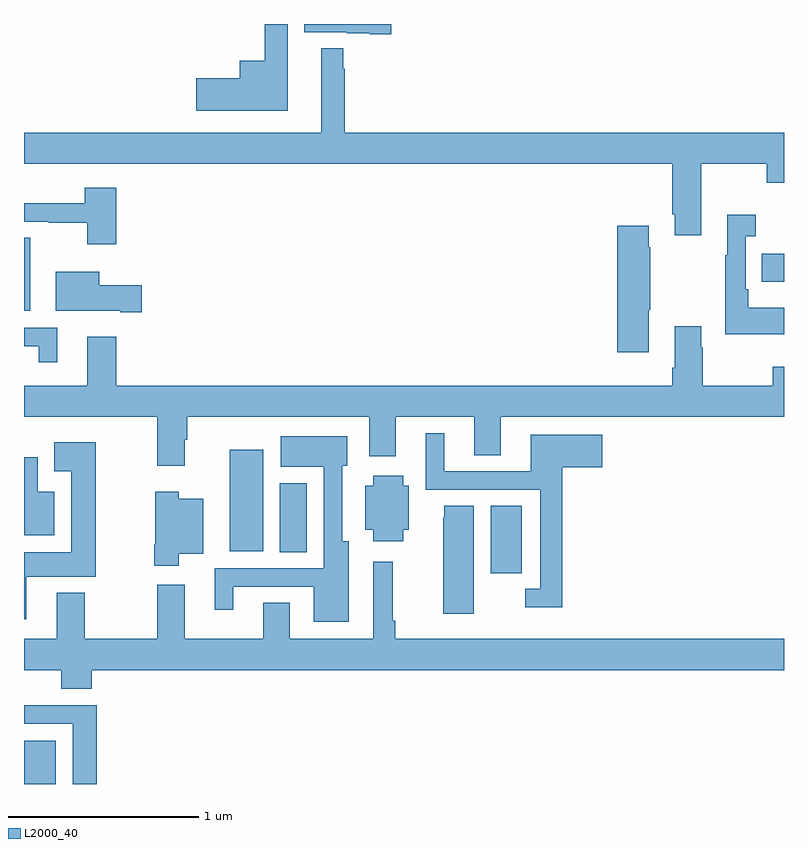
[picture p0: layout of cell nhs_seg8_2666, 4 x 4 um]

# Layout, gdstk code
import gdstk
lib = gdstk.Library(unit=1e-6, precision=1e-09)
def R(c, l, rs):  # rectangles x0, y0, x1, y1
    for r in rs: c.add(gdstk.rectangle(r[:2], r[2:], *l))
def P(c, l, *ps):  # polygons
    for p in ps: c.add(gdstk.Polygon(p, *l))
L2000_40 = (2000, 40)

nhs_seg8_2666 = lib.new_cell('nhs_seg8_2666')
R(nhs_seg8_2666, L2000_40, [(279,1115.9,279.166,1116.127), (281.456,1117.008,281.62,1117.364), (280.346,1117.12,280.489,1117.483), (280.082,1117.124,280.258,1117.66), (279,1118.39,279.034,1118.774), (282.883,1118.543,283,1118.691)])
P(nhs_seg8_2666, L2000_40, [(280.387,1119.9),(280.266,1119.9),(280.266,1119.706),(280.136,1119.706),(280.136,1119.614),(279.906,1119.614),(279.906,1119.443),(280.387,1119.443)],
  [(280.933,1119.9),(280.475,1119.9),(280.475,1119.857),(280.698,1119.857),(280.698,1119.851),(280.82,1119.851),(280.82,1119.845),(280.933,1119.845)],
  [(282.565,1119.164),(282.91,1119.164),(282.91,1119.065),(283,1119.065),(283,1119.328),(280.687,1119.328),(280.687,1119.665),(280.679,1119.665),(280.679,1119.772),(280.565,1119.772),(280.565,1119.328),(279,1119.328),(279,1119.164),(282.413,1119.164),(282.413,1118.899),(282.425,1118.899),(282.425,1118.787),(282.565,1118.787)],
  [(279.485,1119.037),(279.32,1119.037),(279.32,1118.957),(279,1118.957),(279,1118.859),(279.13,1118.859),(279.13,1118.854),(279.332,1118.854),(279.332,1118.742),(279.485,1118.742)],
  [(283,1118.407),(282.811,1118.407),(282.811,1118.503),(282.798,1118.503),(282.798,1118.783),(282.85,1118.783),(282.85,1118.896),(282.701,1118.896),(282.701,1118.683),(282.69,1118.683),(282.69,1118.267),(283,1118.267)],
  [(282.289,1118.395),(282.297,1118.395),(282.297,1118.726),(282.289,1118.726),(282.289,1118.839),(282.122,1118.839),(282.122,1118.172),(282.289,1118.172)],
  [(279.619,1118.525),(279.397,1118.525),(279.397,1118.596),(279.167,1118.596),(279.167,1118.39),(279.506,1118.39),(279.506,1118.383),(279.619,1118.383)],
  [(279.847,1117.712),(279.86,1117.712),(279.86,1117.832),(280.817,1117.832),(280.817,1117.626),(280.957,1117.626),(280.957,1117.832),(281.369,1117.832),(281.369,1117.63),(281.509,1117.63),(281.509,1117.832),(283,1117.832),(283,1118.095),(282.94,1118.095),(282.94,1117.996),(282.573,1117.996),(282.573,1118.195),(282.565,1118.195),(282.565,1118.308),(282.425,1118.308),(282.425,1118.092),(282.413,1118.092),(282.413,1117.996),(279.485,1117.996),(279.485,1118.254),(279.332,1118.254),(279.332,1117.996),(279,1117.996),(279,1117.832),(279.7,1117.832),(279.7,1117.575),(279.847,1117.575)],
  [(279.175,1118.301),(279,1118.301),(279,1118.205),(279.077,1118.205),(279.077,1118.121),(279.175,1118.121)],
  [(281.834,1117.568),(282.043,1117.568),(282.043,1117.738),(281.666,1117.738),(281.666,1117.545),(281.212,1117.545),(281.212,1117.747),(281.114,1117.747),(281.114,1117.449),(281.718,1117.449),(281.718,1116.927),(281.637,1116.927),(281.637,1116.83),(281.834,1116.83)],
  [(280.708,1117.177),(280.674,1117.177),(280.674,1117.575),(280.702,1117.575),(280.702,1117.729),(280.35,1117.729),(280.35,1117.571),(280.578,1117.571),(280.578,1117.035),(280.004,1117.035),(280.004,1116.816),(280.102,1116.816),(280.102,1116.939),(280.526,1116.939),(280.526,1116.755),(280.708,1116.755)],
  [(279.013,1116.992),(279.378,1116.992),(279.378,1117.699),(279.158,1117.699),(279.158,1117.547),(279.248,1117.547),(279.248,1117.12),(279,1117.12),(279,1116.768),(279.013,1116.768)],
  [(279.16,1117.438),(279.073,1117.438),(279.073,1117.621),(279,1117.621),(279,1117.208),(279.16,1117.208)],
  [(280.996,1117.238),(281.026,1117.238),(281.026,1117.471),(280.996,1117.471),(280.996,1117.522),(280.838,1117.522),(280.838,1117.471),(280.796,1117.471),(280.796,1117.238),(280.838,1117.238),(280.838,1117.178),(280.996,1117.178)],
  [(279.814,1117.112),(279.943,1117.112),(279.943,1117.402),(279.814,1117.402),(279.814,1117.438),(279.692,1117.438),(279.692,1117.162),(279.685,1117.162),(279.685,1117.05),(279.814,1117.05)],
  [(281.368,1117.364),(281.213,1117.364),(281.213,1117.305),(281.207,1117.305),(281.207,1116.795),(281.368,1116.795)],
  [(279.356,1116.5),(283,1116.5),(283,1116.664),(280.955,1116.664),(280.955,1116.76),(280.94,1116.76),(280.94,1117.069),(280.838,1117.069),(280.838,1116.664),(280.399,1116.664),(280.399,1116.854),(280.259,1116.854),(280.259,1116.664),(279.847,1116.664),(279.847,1116.949),(279.7,1116.949),(279.7,1116.664),(279.321,1116.664),(279.321,1116.907),(279.173,1116.907),(279.173,1116.664),(279,1116.664),(279,1116.5),(279.196,1116.5),(279.196,1116.401),(279.356,1116.401)],
  [(279.383,1116.314),(279,1116.314),(279,1116.216),(279.257,1116.216),(279.257,1115.9),(279.383,1115.9)])

lib.write_gds('nhs_seg8_2666.gds')
